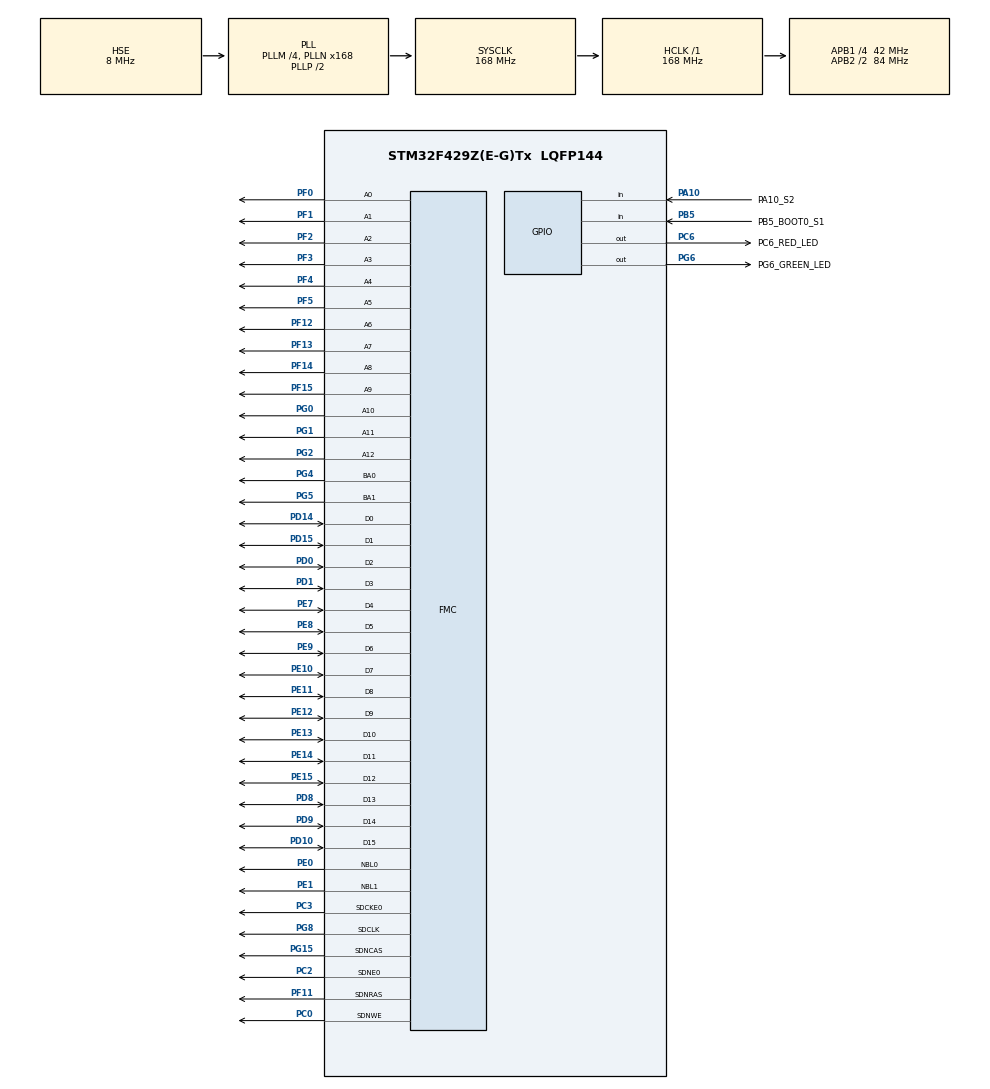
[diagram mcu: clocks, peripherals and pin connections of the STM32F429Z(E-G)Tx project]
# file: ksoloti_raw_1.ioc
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FMC.CASLatency1=FMC_SDRAM_CAS_LATENCY_2
FMC.ColumnBitsNumber1=FMC_SDRAM_COLUMN_BITS_NUM_9
FMC.ExitSelfRefreshDelay1=7
FMC.LoadToActiveDelay1=2
FMC.RCDDelay1=2
FMC.RPDelay1=2
FMC.RPDelay2=2
FMC.ReadBurst1=FMC_SDRAM_RBURST_ENABLE
FMC.ReadBurst2=FMC_SDRAM_RBURST_ENABLE
FMC.ReadPipeDelay1=FMC_SDRAM_RPIPE_DELAY_1
FMC.ReadPipeDelay2=FMC_SDRAM_RPIPE_DELAY_1
FMC.RowCycleDelay1=7
FMC.RowCycleDelay2=7
FMC.SDClockPeriod1=FMC_SDRAM_CLOCK_PERIOD_2
FMC.SDClockPeriod2=FMC_SDRAM_CLOCK_PERIOD_2
FMC.SelfRefreshTime1=4
FMC.WriteProtection1=FMC_SDRAM_WRITE_PROTECTION_DISABLE
FMC.WriteRecoveryTime1=3
Mcu.Family=STM32F4
Mcu.Name=STM32F429Z(E-G)Tx
Mcu.Package=LQFP144
NVIC.PriorityGroup=NVIC_PRIORITYGROUP_4
PA10.GPIO_Label=PA10_S2
PA10.Signal=GPIO_Input
PB5.GPIO_Label=PB5_BOOT0_S1
PB5.Signal=GPIO_Input
PC0.Signal=FMC_SDNWE
PC2.Mode=SdramChipSelect1_1
PC2.Signal=FMC_SDNE0
PC3.Mode=SdramChipSelect1_1
PC3.Signal=FMC_SDCKE0
PC6.GPIO_Label=PC6_RED_LED
PC6.Signal=GPIO_Output
PD0.Signal=FMC_D2_DA2
PD1.Signal=FMC_D3_DA3
PD10.Signal=FMC_D15_DA15
PD14.Signal=FMC_D0_DA0
PD15.Signal=FMC_D1_DA1
PD8.Signal=FMC_D13_DA13
PD9.Signal=FMC_D14_DA14
PE0.Signal=FMC_NBL0
PE1.Signal=FMC_NBL1
PE10.Signal=FMC_D7_DA7
PE11.Signal=FMC_D8_DA8
PE12.Signal=FMC_D9_DA9
PE13.Signal=FMC_D10_DA10
PE14.Signal=FMC_D11_DA11
PE15.Signal=FMC_D12_DA12
PE7.Signal=FMC_D4_DA4
PE8.Signal=FMC_D5_DA5
PE9.Signal=FMC_D6_DA6
PF0.Signal=FMC_A0
PF1.Signal=FMC_A1
PF11.Signal=FMC_SDNRAS
PF12.Signal=FMC_A6
PF13.Signal=FMC_A7
PF14.Signal=FMC_A8
PF15.Signal=FMC_A9
PF2.Signal=FMC_A2
PF3.Signal=FMC_A3
PF4.Signal=FMC_A4
PF5.Signal=FMC_A5
PG0.Signal=FMC_A10
PG1.Signal=FMC_A11
PG15.Signal=FMC_SDNCAS
PG2.Signal=FMC_A12
PG4.Signal=FMC_A14_BA0
PG5.Signal=FMC_A15_BA1
PG6.GPIO_Label=PG6_GREEN_LED
PG6.Signal=GPIO_Output
PG8.Signal=FMC_SDCLK
PH0/OSC_IN.Mode=HSE-External-Oscillator
PH0/OSC_IN.Signal=RCC_OSC_IN
PH1/OSC_OUT.Mode=HSE-External-Oscillator
PH1/OSC_OUT.Signal=RCC_OSC_OUT
ProjectManager.HeapSize=0x200
ProjectManager.StackSize=0x400
ProjectManager.TargetToolchain=STM32CubeIDE
RCC.48MHZClocksFreq_Value=84000000
RCC.AHBFreq_Value=168000000
RCC.APB1CLKDivider=RCC_HCLK_DIV4
RCC.APB1Freq_Value=42000000
RCC.APB1TimFreq_Value=84000000
RCC.APB2CLKDivider=RCC_HCLK_DIV2
RCC.APB2Freq_Value=84000000
RCC.APB2TimFreq_Value=168000000
RCC.CortexFreq_Value=168000000
RCC.HCLKFreq_Value=168000000
RCC.HSE_VALUE=8000000
RCC.HSI_VALUE=16000000
RCC.LSE_VALUE=32768
RCC.PLLM=4
RCC.PLLN=168
RCC.PLLSourceVirtual=RCC_PLLSOURCE_HSE
RCC.SYSCLKFreq_VALUE=168000000
RCC.SYSCLKSource=RCC_SYSCLKSOURCE_PLLCLK
RCC.VCOOutputFreq_Value=336000000
SH.FMC_A0.0=FMC_A0,13b-sda1
SH.FMC_A1.0=FMC_A1,13b-sda1
SH.FMC_A10.0=FMC_A10,13b-sda1
SH.FMC_A11.0=FMC_A11,13b-sda1
SH.FMC_A12.0=FMC_A12,13b-sda1
SH.FMC_A14_BA0.0=FMC_BA0,FourSdramBanks1
SH.FMC_A15_BA1.0=FMC_BA1,FourSdramBanks1
SH.FMC_A2.0=FMC_A2,13b-sda1
SH.FMC_A3.0=FMC_A3,13b-sda1
SH.FMC_A4.0=FMC_A4,13b-sda1
SH.FMC_A5.0=FMC_A5,13b-sda1
SH.FMC_A6.0=FMC_A6,13b-sda1
SH.FMC_A7.0=FMC_A7,13b-sda1
SH.FMC_A8.0=FMC_A8,13b-sda1
SH.FMC_A9.0=FMC_A9,13b-sda1
SH.FMC_D0_DA0.0=FMC_D0,sd-16b-d1
SH.FMC_D10_DA10.0=FMC_D10,sd-16b-d1
SH.FMC_D11_DA11.0=FMC_D11,sd-16b-d1
SH.FMC_D12_DA12.0=FMC_D12,sd-16b-d1
SH.FMC_D13_DA13.0=FMC_D13,sd-16b-d1
SH.FMC_D14_DA14.0=FMC_D14,sd-16b-d1
SH.FMC_D15_DA15.0=FMC_D15,sd-16b-d1
SH.FMC_D1_DA1.0=FMC_D1,sd-16b-d1
SH.FMC_D2_DA2.0=FMC_D2,sd-16b-d1
SH.FMC_D3_DA3.0=FMC_D3,sd-16b-d1
SH.FMC_D4_DA4.0=FMC_D4,sd-16b-d1
SH.FMC_D5_DA5.0=FMC_D5,sd-16b-d1
SH.FMC_D6_DA6.0=FMC_D6,sd-16b-d1
SH.FMC_D7_DA7.0=FMC_D7,sd-16b-d1
SH.FMC_D8_DA8.0=FMC_D8,sd-16b-d1
SH.FMC_D9_DA9.0=FMC_D9,sd-16b-d1
SH.FMC_NBL0.0=FMC_NBL0,Sd2ByteEnable1
SH.FMC_NBL1.0=FMC_NBL1,Sd2ByteEnable1
SH.FMC_SDCLK.0=FMC_SDCLK,13b-sda1
SH.FMC_SDNCAS.0=FMC_SDNCAS,13b-sda1
SH.FMC_SDNRAS.0=FMC_SDNRAS,13b-sda1
SH.FMC_SDNWE.0=FMC_SDNWE,13b-sda1
board=custom

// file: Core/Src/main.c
/* USER CODE BEGIN Header */
/**
  ******************************************************************************
  * @file           : main.c
  * @brief          : Main program body
  ******************************************************************************
  * @attention
  *
  * Copyright (c) 2024 STMicroelectronics.
  * All rights reserved.
  *
  * This software is licensed under terms that can be found in the LICENSE file
  * in the root directory of this software component.
  * If no LICENSE file comes with this software, it is provided AS-IS.
  *
  ******************************************************************************
  */
/* USER CODE END Header */
#include "main.h"

SDRAM_HandleTypeDef hsdram1;

void SystemClock_Config(void);
static void MX_GPIO_Init(void);
static void MX_FMC_Init(void);

/* USER CODE BEGIN 0 */

void flash_leds(void) {
  GPIO_PinState s1, s2;

  while (1) {

    s1 = HAL_GPIO_ReadPin(PB5_BOOT0_S1_GPIO_Port, PB5_BOOT0_S1_Pin);
    s2 = HAL_GPIO_ReadPin(PA10_S2_GPIO_Port, PA10_S2_Pin);

    if (s1) {
      HAL_GPIO_TogglePin(PC6_RED_LED_GPIO_Port, PC6_RED_LED_Pin);
    } else {
      HAL_GPIO_TogglePin(PG6_GREEN_LED_GPIO_Port, PG6_GREEN_LED_Pin);
    }

    HAL_Delay(s2 ? 125 : 250);
  }
}

/*
 * Go through all the memory, write the address, read the address,
 * and turn on an LED based on the result.
 */
void simple_sdram_test(void) {

  // First show the LEDs for a second.
  HAL_GPIO_WritePin(PC6_RED_LED_GPIO_Port, PC6_RED_LED_Pin, GPIO_PIN_SET);
  HAL_Delay(500);
  HAL_GPIO_WritePin(PC6_RED_LED_GPIO_Port, PC6_RED_LED_Pin, GPIO_PIN_RESET);
  HAL_GPIO_WritePin(PG6_GREEN_LED_GPIO_Port, PG6_GREEN_LED_Pin, GPIO_PIN_SET);
  HAL_Delay(500);
  HAL_GPIO_WritePin(PG6_GREEN_LED_GPIO_Port, PG6_GREEN_LED_Pin, GPIO_PIN_RESET);

  void *sd_base = (void *)0xC0000000;
  // 32MB RAM, at 2 bytes per write = 16M writes
  uint32_t sd_len = 0x2000000;
  uint16_t val_offset = 0xD0F1; // My initials, whee
  uint32_t good = 1;
  uint16_t val;
  uint16_t cur_val;

  void *cur = sd_base;

  // This is reasonably slow - takes about 8 seconds

  // First write
  while (cur < sd_base + sd_len) {
    val = val_offset + (uint16_t)((uint32_t)cur & 0xFFFF);
    *((volatile uint16_t *)cur) = val;
    cur = (void *)((uint32_t)cur + 2); // Go up by words since our memory is 16 bits wide
  }

  // Then read
  cur = sd_base;
  while (cur < sd_base + sd_len) {
    val = val_offset + (uint16_t)((uint32_t)cur & 0xFFFF);
    cur_val = *((volatile uint16_t *)cur);
    if (cur_val != val) {
      good = 0;
    }
    cur = (void *)((uint32_t)cur + 2); // Go up by words since our memory is 16 bits wide
  }

  // Print status
  while (1) {
    if (good) {
      HAL_GPIO_TogglePin(PG6_GREEN_LED_GPIO_Port, PG6_GREEN_LED_Pin);
    } else {
      HAL_GPIO_TogglePin(PC6_RED_LED_GPIO_Port, PC6_RED_LED_Pin);
    }
    HAL_Delay(400);
  }
}

/* USER CODE END 0 */

int main(void)
{

  /* MCU Configuration--------------------------------------------------------*/

  /* Reset of all peripherals, Initializes the Flash interface and the Systick. */
  HAL_Init();

  /* Configure the system clock */
  SystemClock_Config();

  /* Initialize all configured peripherals */
  MX_GPIO_Init();
  MX_FMC_Init();

  /* Infinite loop */
  while (1)
  {

    /* USER CODE BEGIN 3 */
    // flash_leds();
    simple_sdram_test();
  }
  /* USER CODE END 3 */
}

void SystemClock_Config(void)
{
  RCC_OscInitTypeDef RCC_OscInitStruct = {0};
  RCC_ClkInitTypeDef RCC_ClkInitStruct = {0};

  /** Configure the main internal regulator output voltage
  */
  __HAL_RCC_PWR_CLK_ENABLE();
  __HAL_PWR_VOLTAGESCALING_CONFIG(PWR_REGULATOR_VOLTAGE_SCALE1);

  /** Initializes the RCC Oscillators according to the specified parameters
  * in the RCC_OscInitTypeDef structure.
  */
  RCC_OscInitStruct.OscillatorType = RCC_OSCILLATORTYPE_HSE;
  RCC_OscInitStruct.HSEState = RCC_HSE_ON;
  RCC_OscInitStruct.PLL.PLLState = RCC_PLL_ON;
  RCC_OscInitStruct.PLL.PLLSource = RCC_PLLSOURCE_HSE;
  RCC_OscInitStruct.PLL.PLLM = 4;
  RCC_OscInitStruct.PLL.PLLN = 168;
  RCC_OscInitStruct.PLL.PLLP = RCC_PLLP_DIV2;
  RCC_OscInitStruct.PLL.PLLQ = 4;
  if (HAL_RCC_OscConfig(&RCC_OscInitStruct) != HAL_OK)
  {
    Error_Handler();
  }

  /** Initializes the CPU, AHB and APB buses clocks
  */
  RCC_ClkInitStruct.ClockType = RCC_CLOCKTYPE_HCLK|RCC_CLOCKTYPE_SYSCLK
                              |RCC_CLOCKTYPE_PCLK1|RCC_CLOCKTYPE_PCLK2;
  RCC_ClkInitStruct.SYSCLKSource = RCC_SYSCLKSOURCE_PLLCLK;
  RCC_ClkInitStruct.AHBCLKDivider = RCC_SYSCLK_DIV1;
  RCC_ClkInitStruct.APB1CLKDivider = RCC_HCLK_DIV4;
  RCC_ClkInitStruct.APB2CLKDivider = RCC_HCLK_DIV2;

  if (HAL_RCC_ClockConfig(&RCC_ClkInitStruct, FLASH_LATENCY_5) != HAL_OK)
  {
    Error_Handler();
  }
}

/**
 * @brief  FMC SDRAM Mode definition register defines
 * From: https://github.com/ksoloti/ksoloti/blob/c6305dd5c92fde1ad0d5dcc49afcf5de4b7e3a58/firmware/sdram.h#L96
 */
#define SDRAM_MODEREG_BURST_LENGTH_1             ((uint16_t)0x0000)
#define SDRAM_MODEREG_BURST_LENGTH_2             ((uint16_t)0x0001)
#define SDRAM_MODEREG_BURST_LENGTH_4             ((uint16_t)0x0002)
#define SDRAM_MODEREG_BURST_LENGTH_8             ((uint16_t)0x0004)
#define SDRAM_MODEREG_BURST_TYPE_SEQUENTIAL      ((uint16_t)0x0000)
#define SDRAM_MODEREG_BURST_TYPE_INTERLEAVED     ((uint16_t)0x0008)
#define SDRAM_MODEREG_CAS_LATENCY_2              ((uint16_t)0x0020)
#define SDRAM_MODEREG_CAS_LATENCY_3              ((uint16_t)0x0030)
#define SDRAM_MODEREG_OPERATING_MODE_STANDARD    ((uint16_t)0x0000)
#define SDRAM_MODEREG_WRITEBURST_MODE_PROGRAMMED ((uint16_t)0x0000)
#define SDRAM_MODEREG_WRITEBURST_MODE_SINGLE     ((uint16_t)0x0200)

/* FMC initialization function */
static void MX_FMC_Init(void)
{

  FMC_SDRAM_TimingTypeDef SdramTiming = {0};

  /** Perform the SDRAM1 memory initialization sequence
  */
  hsdram1.Instance = FMC_SDRAM_DEVICE;
  /* hsdram1.Init */
  hsdram1.Init.SDBank = FMC_SDRAM_BANK1;
  hsdram1.Init.ColumnBitsNumber = FMC_SDRAM_COLUMN_BITS_NUM_9;
  hsdram1.Init.RowBitsNumber = FMC_SDRAM_ROW_BITS_NUM_13;
  hsdram1.Init.MemoryDataWidth = FMC_SDRAM_MEM_BUS_WIDTH_16;
  hsdram1.Init.InternalBankNumber = FMC_SDRAM_INTERN_BANKS_NUM_4;
  hsdram1.Init.CASLatency = FMC_SDRAM_CAS_LATENCY_2;
  hsdram1.Init.WriteProtection = FMC_SDRAM_WRITE_PROTECTION_DISABLE;
  hsdram1.Init.SDClockPeriod = FMC_SDRAM_CLOCK_PERIOD_2;
  hsdram1.Init.ReadBurst = FMC_SDRAM_RBURST_ENABLE;
  hsdram1.Init.ReadPipeDelay = FMC_SDRAM_RPIPE_DELAY_1;
  /* SdramTiming */
  SdramTiming.LoadToActiveDelay = 2;
  SdramTiming.ExitSelfRefreshDelay = 7;
  SdramTiming.SelfRefreshTime = 4;
  SdramTiming.RowCycleDelay = 7;
  SdramTiming.WriteRecoveryTime = 3;
  SdramTiming.RPDelay = 2;
  SdramTiming.RCDDelay = 2;

  if (HAL_SDRAM_Init(&hsdram1, &SdramTiming) != HAL_OK)
  {
    Error_Handler( );
  }

  /* USER CODE BEGIN FMC_Init 2 */

  // Code from: https://community.st.com/t5/stm32-mcus/how-to-set-up-the-fmc-peripheral-to-interface-with-the-sdram/ta-p/49457
  // See section 2.6 SDRAM Initialization sequence

  // See also Ksoloti code: https://github.com/ksoloti/ksoloti/blob/master/firmware/sdram.c#L223
  // See SDRAM_InitSequence()

  HAL_StatusTypeDef status;

  FMC_SDRAM_CommandTypeDef Command;
  /* Step 1 and Step 2 already done in HAL_SDRAM_Init() */
  /* Step 3: Configure a clock configuration enable command */
  Command.CommandMode            = FMC_SDRAM_CMD_CLK_ENABLE; /* Set MODE bits to "001" */
  Command.CommandTarget          = FMC_SDRAM_CMD_TARGET_BANK1; /* configure the Target Bank bits */
  Command.AutoRefreshNumber      = 1;
  Command.ModeRegisterDefinition = 0;
  status = HAL_SDRAM_SendCommand(&hsdram1, &Command, 0xfff);

  /* Step 4: Insert 100 us minimum delay - Min HAL Delay is 1ms */
  HAL_Delay(1);

  /* Step 5: Configure a PALL (precharge all) command */
  Command.CommandMode            = FMC_SDRAM_CMD_PALL; /* Set MODE bits to "010" */
  status = HAL_SDRAM_SendCommand(&hsdram1, &Command, 0xfff);

  /* Step 6: Configure an Auto Refresh command... twice */
  Command.CommandMode            = FMC_SDRAM_CMD_AUTOREFRESH_MODE; /* Set MODE bits to "011" */
  Command.AutoRefreshNumber      = 4;
  status = HAL_SDRAM_SendCommand(&hsdram1, &Command, 0xfff);
  status = HAL_SDRAM_SendCommand(&hsdram1, &Command, 0xfff);

  /* Step 7: Program the external memory mode register */
  Command.CommandMode            = FMC_SDRAM_CMD_LOAD_MODE;/*set the MODE bits to "100" */
  Command.AutoRefreshNumber      = 1;
  // Command.ModeRegisterDefinition =  (uint32_t)0 | 0<<3 | 2<<4 | 0<<7 | 1<<9;
  Command.ModeRegisterDefinition = SDRAM_MODEREG_BURST_LENGTH_2 |
    SDRAM_MODEREG_BURST_TYPE_SEQUENTIAL |
    SDRAM_MODEREG_CAS_LATENCY_2 |
    SDRAM_MODEREG_OPERATING_MODE_STANDARD |
    SDRAM_MODEREG_WRITEBURST_MODE_SINGLE;
  // for (int i = 0; i < 100000; i++);
  status = HAL_SDRAM_SendCommand(&hsdram1, &Command, 0xfff);

  /* Step 8: Set the refresh rate counter - refer to section SDRAM refresh timer register in RM0455 */
  /* Per our SDRAM:
   *
   * self refresh time = 64ms
   * number of rows = 8192
   * SDRAM Clock = 84MHz (168MHz / 2)
   *
   * COUNT = [(SDRAM self refresh time / number of row) x  SDRAM CLK] – 20
   *       = [(64ms / 8192) * 84MHz] - 20
   *       = 656.25 - 20
   *       = 646.25
   *       = ~646
   */
  // for (int i = 0; i < 100000; i++);
  status = HAL_SDRAM_ProgramRefreshRate(&hsdram1, 646); // KSoloti uses 683

  // for (int i = 0; i < 100000; i++);
  status = HAL_SDRAM_WriteProtection_Disable(&hsdram1); // This returns HAL_ERROR
  // for (int i = 0; i < 100000; i++);
  for (int i = 0; i < 1; i++);

  /* USER CODE END FMC_Init 2 */
}

static void MX_GPIO_Init(void)
{
  GPIO_InitTypeDef GPIO_InitStruct = {0};

  /* GPIO Ports Clock Enable */
  __HAL_RCC_GPIOF_CLK_ENABLE();
  __HAL_RCC_GPIOH_CLK_ENABLE();
  __HAL_RCC_GPIOC_CLK_ENABLE();
  __HAL_RCC_GPIOG_CLK_ENABLE();
  __HAL_RCC_GPIOE_CLK_ENABLE();
  __HAL_RCC_GPIOD_CLK_ENABLE();
  __HAL_RCC_GPIOA_CLK_ENABLE();
  __HAL_RCC_GPIOB_CLK_ENABLE();

  /*Configure GPIO pin Output Level */
  HAL_GPIO_WritePin(PG6_GREEN_LED_GPIO_Port, PG6_GREEN_LED_Pin, GPIO_PIN_RESET);

  /*Configure GPIO pin Output Level */
  HAL_GPIO_WritePin(PC6_RED_LED_GPIO_Port, PC6_RED_LED_Pin, GPIO_PIN_RESET);

  /*Configure GPIO pin : PG6_GREEN_LED_Pin */
  GPIO_InitStruct.Pin = PG6_GREEN_LED_Pin;
  GPIO_InitStruct.Mode = GPIO_MODE_OUTPUT_PP;
  GPIO_InitStruct.Pull = GPIO_NOPULL;
  GPIO_InitStruct.Speed = GPIO_SPEED_FREQ_LOW;
  HAL_GPIO_Init(PG6_GREEN_LED_GPIO_Port, &GPIO_InitStruct);

  /*Configure GPIO pin : PC6_RED_LED_Pin */
  GPIO_InitStruct.Pin = PC6_RED_LED_Pin;
  GPIO_InitStruct.Mode = GPIO_MODE_OUTPUT_PP;
  GPIO_InitStruct.Pull = GPIO_NOPULL;
  GPIO_InitStruct.Speed = GPIO_SPEED_FREQ_LOW;
  HAL_GPIO_Init(PC6_RED_LED_GPIO_Port, &GPIO_InitStruct);

  /*Configure GPIO pin : PA10_S2_Pin */
  GPIO_InitStruct.Pin = PA10_S2_Pin;
  GPIO_InitStruct.Mode = GPIO_MODE_INPUT;
  GPIO_InitStruct.Pull = GPIO_NOPULL;
  HAL_GPIO_Init(PA10_S2_GPIO_Port, &GPIO_InitStruct);

  /*Configure GPIO pin : PB5_BOOT0_S1_Pin */
  GPIO_InitStruct.Pin = PB5_BOOT0_S1_Pin;
  GPIO_InitStruct.Mode = GPIO_MODE_INPUT;
  GPIO_InitStruct.Pull = GPIO_NOPULL;
  HAL_GPIO_Init(PB5_BOOT0_S1_GPIO_Port, &GPIO_InitStruct);

}

void Error_Handler(void)
{
  /* USER CODE BEGIN Error_Handler_Debug */
  /* User can add his own implementation to report the HAL error return state */
  __disable_irq();

  // Turn on RED LED and leave it
  HAL_GPIO_WritePin(PC6_RED_LED_GPIO_Port, PC6_RED_LED_Pin, GPIO_PIN_SET);

  while (1)
  {
  }
  /* USER CODE END Error_Handler_Debug */
}
